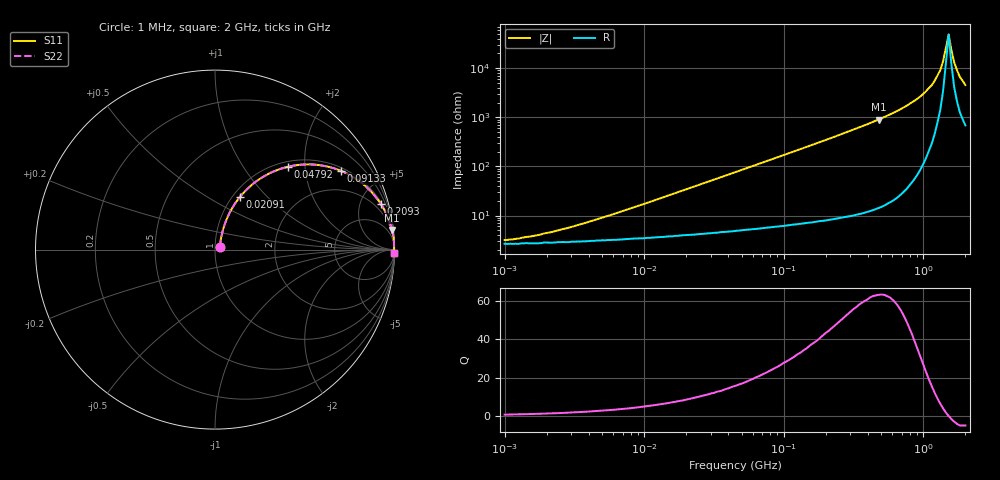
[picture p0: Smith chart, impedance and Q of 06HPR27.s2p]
# MHz S MA R 50
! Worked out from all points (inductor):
!   166 points, 1 MHz to 2 GHz, reference 50 ohm
!   read as one part in series: L = 270 nH near 5.758 MHz
!   highest Q = 63.2 at 479.6 MHz (marker M1), where L = 299 nH
!   self-resonance near 1.449 GHz
!   S11 on the Smith chart (normalised r, x): 1 MHz: 1.05, +0.03; 20.91 MHz: 1.08, +0.71; 47.92 MHz: 1.10, +1.63; 91.33 MHz: 1.12, +3.11; 209.3 MHz: 1.17, +7.24; 2 GHz: 16, -89
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1  0.031 31.8  0.974 -0.9  0.974 -0.9  0.031 31.8
1.82  0.04 46.3  0.973 -1.7  0.973 -1.7  0.04 46.3
3.632  0.066 60.7  0.969 -3.4  0.969 -3.4  0.066 60.7
13.193  0.214 68.5  0.943 -12.2  0.943 -12.2  0.214 68.5
20.913  0.325 64.7  0.91 -18.8  0.91 -18.8  0.325 64.7
30.232  0.443 58.9  0.86 -26.2  0.86 -26.2  0.443 58.9
45.763  0.596 49.9  0.766 -36.5  0.766 -36.5  0.596 49.9
47.921  0.614 48.7  0.753 -37.8  0.753 -37.8  0.614 48.7
91.33  0.827 32.1  0.531 -55.7  0.531 -55.7  0.827 32.1
166.224  0.936 19.1  0.328 -69.4  0.328 -69.4  0.936 19.1
209.278  0.958 15.3  0.265 -73.4  0.265 -73.4  0.958 15.3
479.553  0.992 6.3  0.11 -82.8  0.11 -82.8  0.992 6.3
576.582  0.995 5.0  0.087 -84.1  0.087 -84.1  0.995 5.0
872.806  0.998 2.6  0.045 -85.9  0.045 -85.9  0.998 2.6
1150.681  0.998 1.2  0.022 -85.0  0.022 -85.0  0.998 1.2
1321.216  0.998 0.6  0.011 -80.5  0.011 -80.5  0.998 0.6
1383.503  0.998 0.4  0.007239 -75.3  0.007239 -75.3  0.998 0.4
1517.024  0.998 -0.0  0.002058 3.9  0.002058 3.9  0.998 -0.0
1588.542  0.998 -0.2  0.00432 59.0  0.00432 59.0  0.998 -0.2
1663.432  0.998 -0.4  0.007668 71.4  0.007668 71.4  0.998 -0.4
1823.969  0.997 -0.8  0.015 78.2  0.015 78.2  0.997 -0.8
2000  0.996 -1.2  0.022 80.1  0.022 80.1  0.996 -1.2
